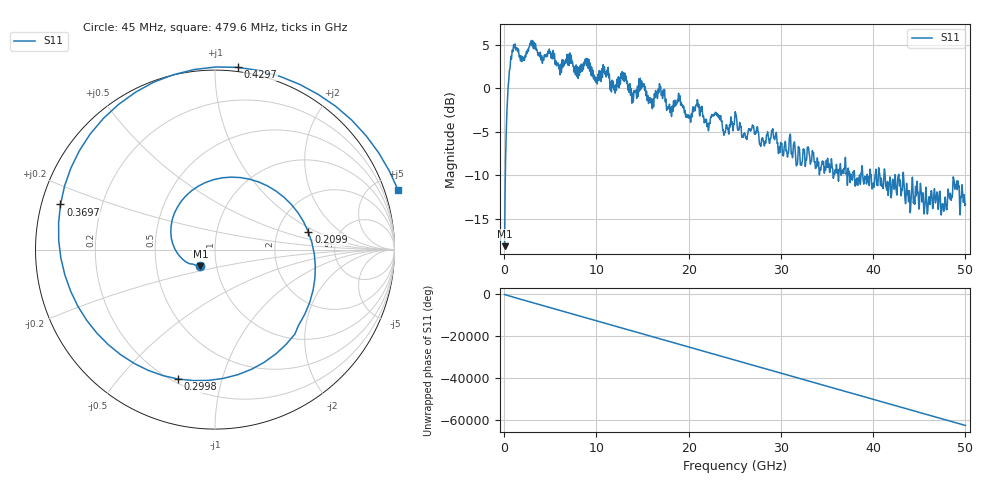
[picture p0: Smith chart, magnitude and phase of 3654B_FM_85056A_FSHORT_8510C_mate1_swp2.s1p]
!Created with skrf (http://scikit-rf.org).
# Hz S RI R 50.0
!freq ReS11 ImS11
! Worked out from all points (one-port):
!   10001 points, 45 MHz to 50 GHz, reference 50 ohm
!   lowest |S11| = -18.1 dB at 45 MHz (marker M1), VSWR 1.28, Z = 41.8 - j7.92 ohm
!   |S11| at or under -10 dB: 37.98 GHz to 38.51 GHz (531.8 MHz wide, 1.39 % of centre); 41.29 GHz to 42.37 GHz (1.083 GHz wide, 2.59 % of centre); 43.3 GHz to end of sweep (the widest 3 of 18)
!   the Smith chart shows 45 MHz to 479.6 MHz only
!   S11 on the Smith chart (normalised r, x): 45 MHz: 0.84, -0.16; 209.9 MHz: 3.00, +0.82; 299.8 MHz: 0.22, -0.73; 369.7 MHz: 0.06, +0.14; 429.7 MHz: -0.03, +1.13; 479.6 MHz: -1.37, +6.02
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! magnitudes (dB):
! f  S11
! 45 MHz  -18.1
! 209.9 MHz  -5.5
! 299.8 MHz  -2.5
! 369.7 MHz  -0.9
! 429.7 MHz  0.2
! 479.6 MHz  0.6
! 794.3 MHz  3.4
! 1.169 GHz  5.1
! 6.289 GHz  3.2
! 12.53 GHz  1.2
! 13.92 GHz  -0.6
! 14.96 GHz  0.1
! 15.99 GHz  -1.3
! 17.03 GHz  -0.8
! 17.94 GHz  -2.0
! 18.78 GHz  -1.4
! 20.92 GHz  -1.5
! 22.06 GHz  -4.1
! 23.09 GHz  -3.1
! 23.88 GHz  -5.1
! 25.02 GHz  -2.9
! 26.08 GHz  -5.2
! 31.27 GHz  -7.9
! 37.51 GHz  -10.8
! 43.76 GHz  -11.8
! 47.55 GHz  -13.3
! 48.88 GHz  -11.5
! 50 GHz  -13.3
